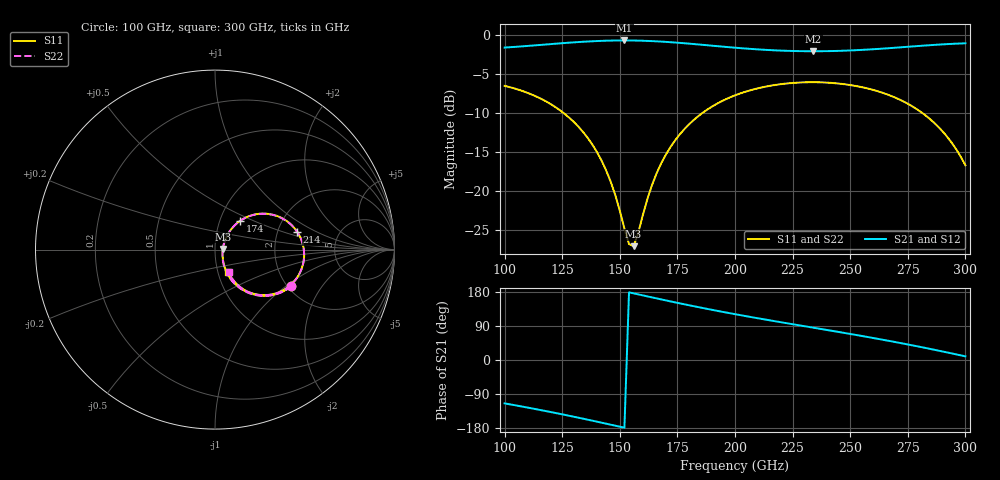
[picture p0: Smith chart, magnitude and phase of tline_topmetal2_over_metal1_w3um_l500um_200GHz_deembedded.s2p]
! Created with skrf 2.2.0 (http://scikit-rf.org).
# GHz S DB R 50.0
! Port[1] = P1
! Port[2] = P2
!freq dBS11 angS11 dBS21 angS21 dBS12 angS12 dBS22 angS22
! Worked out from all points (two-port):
!   101 points, 100 GHz to 300 GHz, reference 50 ohm
!   highest |S21| = -0.70 dB at 152 GHz (marker M1); lowest = -2.1 dB at 234 GHz (marker M2)
!   |S21| within 3 dB of the highest: start of sweep to end of sweep
!   lowest |S11| = -27.1 dB at 156 GHz (marker M3), VSWR 1.09, Z = 54.6 + j0.418 ohm
!   |S11| at or under -10 dB: 125.6 GHz to 185.8 GHz (60.26 GHz wide, 38.7 % of centre); 281.3 GHz to end of sweep
!   |S22| runs from -27.2 to -6.1 dB; largest |S21 - S12| = 9.3e-14
!   S11 on the Smith chart (normalised r, x): 100 GHz: 2.10, -1.09; 174 GHz: 1.24, +0.42; 214 GHz: 2.57, +0.65; 300 GHz: 1.12, -0.29
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100  -6.52 -25.4  -1.61 -114.5  -1.61 -114.5  -6.52 -25.6
110  -7.42 -35.3  -1.40 -125.6  -1.40 -125.6  -7.42 -35.5
120  -8.86 -45.2  -1.17 -137.3  -1.17 -137.3  -8.86 -45.5
134  -12.42 -58.3  -0.87 -154.8  -0.87 -154.8  -12.42 -58.6
140  -14.96 -62.1  -0.78 -162.6  -0.78 -162.6  -14.97 -62.5
144  -17.31 -62.7  -0.73 -167.9  -0.73 -167.9  -17.32 -63.1
148  -20.50 -59.0  -0.71 -173.3  -0.71 -173.3  -20.53 -59.5
152  -24.81 -42.4  -0.70 -178.7  -0.70 -178.7  -24.89 -43.1
154  -26.80 -22.4  -0.70 178.6  -0.70 178.6  -26.93 -22.9
156  -27.07 4.9  -0.71 175.9  -0.71 175.9  -27.21 4.9
162  -21.00 46.6  -0.76 167.8  -0.76 167.8  -21.03 46.8
168  -16.44 51.5  -0.85 159.9  -0.85 159.9  -16.45 51.5
174  -13.51 49.0  -0.96 152.1  -0.96 152.1  -13.51 49.0
186  -9.97 38.9  -1.26 137.2  -1.26 137.2  -9.97 38.8
200  -7.74 25.5  -1.63 121.0  -1.63 121.0  -7.74 25.4
214  -6.58 12.2  -1.92 105.9  -1.92 105.9  -6.58 12.0
234  -6.05 -6.2  -2.08 85.3  -2.08 85.3  -6.05 -6.5
252  -6.51 -22.8  -1.95 66.6  -1.95 66.6  -6.51 -23.0
268  -7.84 -37.8  -1.66 49.1  -1.66 49.1  -7.84 -38.0
286  -11.13 -53.9  -1.28 27.6  -1.28 27.6  -11.13 -54.0
294  -13.79 -59.0  -1.14 17.5  -1.14 17.5  -13.77 -59.0
300  -16.70 -59.3  -1.07 9.6  -1.07 9.6  -16.68 -59.1
